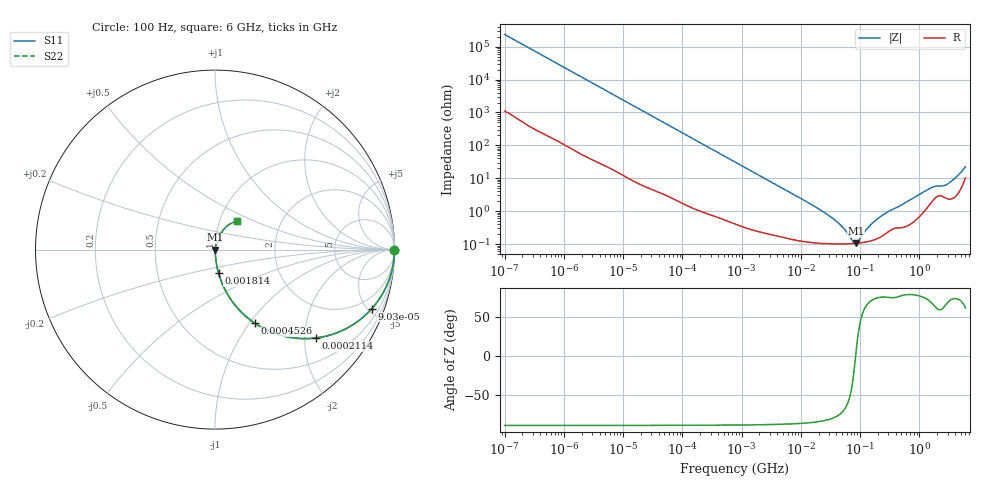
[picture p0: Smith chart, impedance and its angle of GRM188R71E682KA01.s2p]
!Murata Part Number: GRM188R71E682KA01
!These Parameters are Measured in Series Mode Connection
!Data Generated on Mar 30, 2021
!  o--ll--o
!Port1  Port2
!  o------o
!Operation Temp=25[degC], DC Bias Voltage=0[V]
!Freq. Start=100[Hz] Stop=6[GHz] 401[Steps]
# Hz S RI R 50
!Freq.(Hz) S11(Real) S11(Imag) S21(Real) S21(Imag) S12(Real) S12(Imag) S22(Real) S22(Imag)
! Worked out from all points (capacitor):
!   401 points, 100 Hz to 6 GHz, reference 50 ohm
!   read as one part in series: C = 6.79 nF near 109 Hz
!   lowest |Z| = 106 mohm at 85.28 MHz (marker M1)
!   series resonance near 84.26 MHz, so ESL is about 530 pH
!   S11 on the Smith chart (normalised r, x): 100 Hz: open; 90.3 kHz: 1.04, -5.30; 211.4 kHz: 1.02, -2.27; 452.6 kHz: 1.01, -1.06; 1.814 MHz: 1.00, -0.27; 6 GHz: 1.21, +0.40
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100  1 -0.000427  2.2e-06 0.000427  2.2e-06 0.000427  1 -0.000427
2008  0.9999 -0.00851  0.00011 0.00851  0.00011 0.00851  0.9999 -0.00851
12592  0.9969 -0.0529  0.00307 0.0529  0.00307 0.0529  0.9969 -0.0529
40335  0.9712 -0.1642  0.0288 0.1642  0.0288 0.1642  0.9712 -0.1642
90302  0.8734 -0.3289  0.1266 0.3289  0.1266 0.3289  0.8734 -0.3289
135116  0.757 -0.4252  0.243 0.4252  0.243 0.4252  0.757 -0.4252
211427  0.5624 -0.4919  0.4376 0.4919  0.4376 0.4919  0.5624 -0.4919
452617  0.2234 -0.411  0.7766 0.411  0.7766 0.411  0.2234 -0.411
774597  0.0918 -0.2823  0.9082 0.2823  0.9082 0.2823  0.0918 -0.2823
1813585  0.02 -0.131  0.98 0.131  0.98 0.131  0.02 -0.131
1.555665e7  0.00134 -0.0153  0.9987 0.0153  0.9987 0.0153  0.00134 -0.0153
3.983537e7  0.00103 -0.00483  0.999 0.00483  0.999 0.00483  0.00103 -0.00483
5.449875e7  0.00102 -0.00265  0.999 0.00265  0.999 0.00265  0.00102 -0.00265
7.455971e7  0.00104 -0.000721  0.999 0.000721  0.999 0.000721  0.00104 -0.000721
8.527865e7  0.00106 7.21e-05  0.9989 -7.21e-05  0.9989 -7.21e-05  0.00106 7.21e-05
9.326766e7  0.00107 0.000601  0.9989 -0.000601  0.9989 -0.000601  0.00107 0.000601
1.220122e8  0.00115 0.00224  0.9989 -0.00224  0.9989 -0.00224  0.00115 0.00224
1.596157e8  0.00129 0.00403  0.9987 -0.00403  0.9987 -0.00403  0.00129 0.00403
3.124326e8  0.00258 0.00978  0.9974 -0.00978  0.9974 -0.00978  0.00258 0.00978
1.565993e9  0.0194 0.0459  0.9806 -0.0459  0.9806 -0.0459  0.0194 0.0459
2.931063e9  0.0269 0.0576  0.9731 -0.0576  0.9731 -0.0576  0.0269 0.0576
6e9  0.1219 0.1574  0.8781 -0.1574  0.8781 -0.1574  0.1219 0.1574
